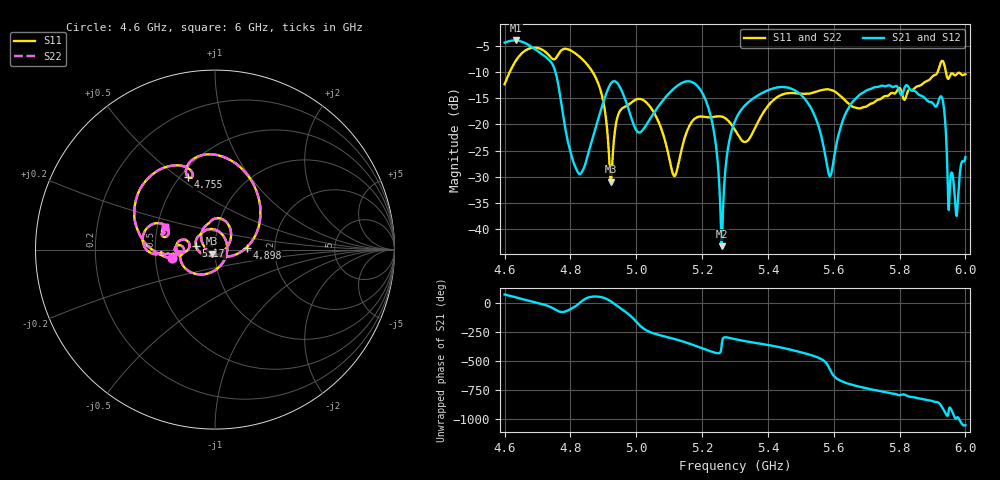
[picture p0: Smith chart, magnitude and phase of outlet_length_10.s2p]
! TOUCHSTONE file generated by CST MICROWAVE STUDIO
! Date and time: Mon Dec  2 04:50:24 2024
! Project name: test_tuning.cst
! Parameters = {airCoaxOuterDiameter=3; chamferAngle=45; chamferWidth=24; connectorLength=10; drillingHoleDiameter=4.1; feedLength=60; flareDiameter=130; flareLength=70; gratingDistance=0; gratingGap=1.90274; outletLength=70; polarizerLength=134; probe1Diameter=1.3; probe1Distance=14; probe1Length=1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
! Header version: 2024
! Port assignment regex: !\s*Touchstone port\s*([0-9]+)\s*=\s*(CST MWS port|CST DES external port|CST DES block port)\s*(.+)\s* \(\"(.*)\"\)(\s*mode\s*([0-9]+))?.*
! Touchstone port assignment:
! Touchstone port 1 = CST MWS port 1 ("Input1")
! Touchstone port 2 = CST MWS port 2 ("Input2")
# GHz S MA R 50
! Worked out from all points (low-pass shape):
!   1001 points, 4.6 GHz to 6 GHz, reference 50 ohm
!   highest |S21| = -3.88 dB at 4.634 GHz (marker M1); lowest = -43.4 dB at 5.259 GHz (marker M2)
!   |S21| within 3 dB of the highest: start of sweep to 4.721 GHz
!   lowest |S11| = -31.0 dB at 4.923 GHz (marker M3), VSWR 1.06, Z = 48.2 - j2.13 ohm
!   |S11| at or under -10 dB: start of sweep to 4.614991 GHz; 4.868 GHz to 5.915 GHz (1.047 GHz wide, 19.4 % of centre); 5.941 GHz to end of sweep
!   |S22| runs from -31.0 to -5.3 dB; largest |S21 - S12| = 3.1e-06
!   S11 on the Smith chart (normalised r, x): 4.6 GHz: 0.61, -0.06; 4.755 GHz: 0.55, +0.54; 4.898 GHz: 1.43, +0.03; 5.17 GHz: 0.81, +0.03; 6 GHz: 0.55, +0.15
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4.6  0.243 -168.6  0.6106 70.4  0.6106 70.4  0.243 -168.6
4.6336  0.4073 172.2  0.64 47.0  0.64 47.0  0.4073 172.2
4.7554  0.4325 110.4  0.3109 -61.1  0.3109 -61.1  0.4325 110.4
4.8338  0.4294 61.1  0.03461 11.9  0.03461 11.9  0.4294 61.1
4.8982  0.1759 3.7  0.1574 44.9  0.1574 44.9  0.1759 3.7
4.9234  0.02826 -128.7  0.2486 10.5  0.2486 10.5  0.02826 -128.7
4.957  0.1426 111.3  0.2064 -57.4  0.2064 -57.4  0.1426 111.3
5.0074  0.1761 83.5  0.08372 174.8  0.08372 174.8  0.1761 83.5
5.0676  0.1062 34.7  0.1497 84.5  0.1497 84.5  0.1062 34.7
5.1166  0.03207 -72.3  0.2243 48.4  0.2243 48.4  0.03207 -72.3
5.1698  0.1071 170.3  0.2549 0.5  0.2549 0.5  0.1071 170.3
5.2286  0.1171 128.3  0.112 -59.5  0.112 -59.5  0.1171 128.3
5.2594  0.1192 107.4  0.006793 -8.9  0.006793 -8.9  0.1192 107.4
5.3  0.08843 57.1  0.1077 47.4  0.1077 47.4  0.08843 57.1
5.5338  0.2005 -173.3  0.1382 -91.9  0.1382 -91.9  0.2005 -173.3
5.5884  0.2156 171.9  0.03183 147.0  0.03183 147.0  0.2156 171.9
5.6528  0.1515 164.7  0.1578 17.7  0.1578 17.7  0.1515 164.7
5.7676  0.1913 -175.0  0.2378 -53.6  0.2378 -53.6  0.1913 -175.0
5.9272  0.4031 174.4  0.1849 -167.4  0.185 -167.4  0.4031 174.4
5.9496  0.2771 164.1  0.01511 157.8  0.01511 157.8  0.2771 164.1
5.972  0.2991 162.7  0.01342 88.5  0.01342 88.5  0.2991 162.7
6  0.3041 155.9  0.04853 28.5  0.04853 28.5  0.3041 155.9
